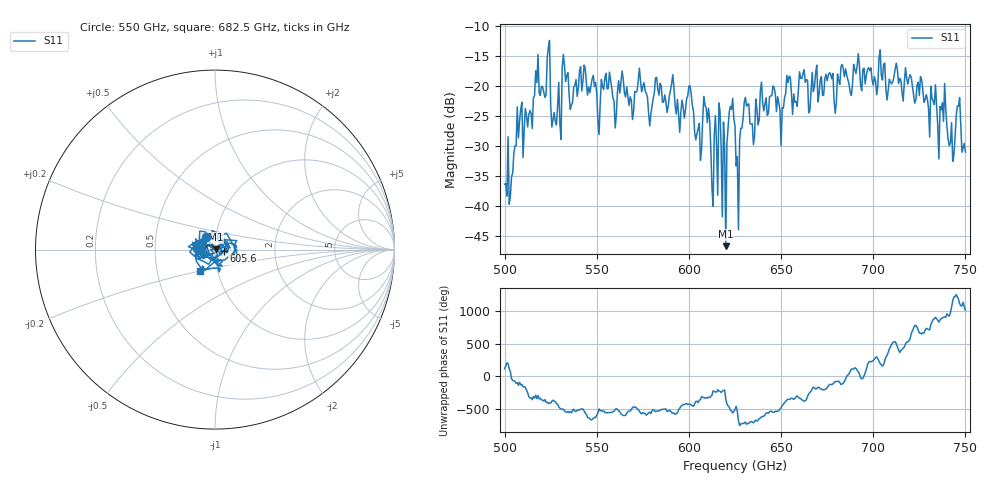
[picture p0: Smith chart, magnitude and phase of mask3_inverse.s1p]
!Created with skrf (http://scikit-rf.org).
# GHz S MA R 50.0
!freq magS11 angS11
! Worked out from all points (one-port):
!   401 points, 500 GHz to 750 GHz, reference 50 ohm
!   lowest |S11| = -46.8 dB at 620 GHz (marker M1), VSWR 1.01, Z = 50.5 + j0.0915 ohm
!   |S11| at or under -10 dB: start of sweep to end of sweep
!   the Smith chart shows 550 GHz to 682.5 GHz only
!   S11 on the Smith chart (normalised r, x): 550 GHz: 0.90, +0.13; 605.6 GHz: 1.10, -0.02; 682.5 GHz: 0.82, -0.20
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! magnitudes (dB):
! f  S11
! 500 GHz  -36.4
! 516.9 GHz  -17.5
! 523.8 GHz  -13.6
! 526.9 GHz  -24.4
! 531.2 GHz  -16.9
! 550 GHz  -21.2
! 562.5 GHz  -21.2
! 593.8 GHz  -22.3
! 600.6 GHz  -20.0
! 605.6 GHz  -26.3
! 609.4 GHz  -23.7
! 612.5 GHz  -37.1
! 615.6 GHz  -38.3
! 618.8 GHz  -26.0
! 620 GHz  -46.8
! 622.5 GHz  -23.4
! 625 GHz  -26.7
! 626.9 GHz  -44.0
! 631.2 GHz  -23.4
! 634.4 GHz  -26.3
! 656.2 GHz  -24.8
! 682.5 GHz  -16.8
! 687.5 GHz  -21.1
! 718.8 GHz  -19.7
! 738.1 GHz  -25.9
! 742.5 GHz  -26.1
! 746.2 GHz  -23.4
! 750 GHz  -31.1
